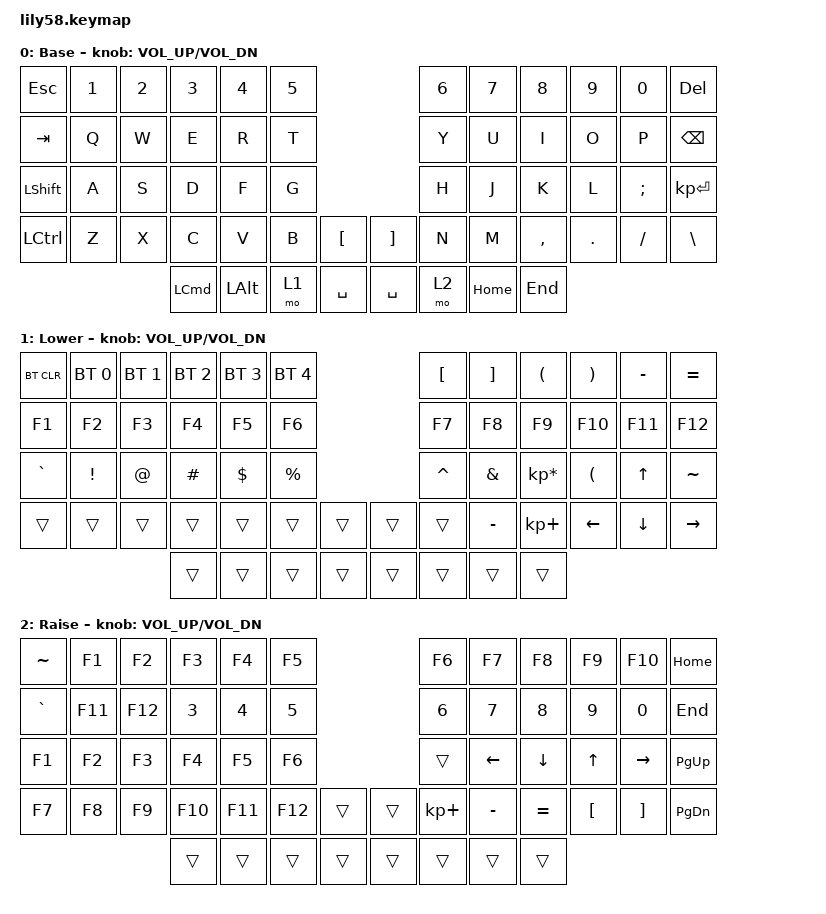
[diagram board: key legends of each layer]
/*
 * Copyright (c) 2020 The ZMK Contributors
 *
 * SPDX-License-Identifier: MIT
 */

#include <behaviors.dtsi>
#include <dt-bindings/zmk/bt.h>
#include <dt-bindings/zmk/keys.h>

/ {
    combos {
        compatible = "zmk,combos";

        lock_screen {
            bindings = <&kp K_SCREENSAVER>;
            key-positions = <53 54>;
            timeout-ms = <0>;
            layers = <0>;
        };
    };

    keymap {
        compatible = "zmk,keymap";

        default_layer {
            // ------------------------------------------------------------------------------------------------------------
            // |  ESC  |  1  |  2  |  3   |  4   |  5   |                   |  6   |  7    |  8    |  9   |   0   |   `   |
            // |  TAB  |  Q  |  W  |  E   |  R   |  T   |                   |  Y   |  U    |  I    |  O   |   P   |   -   |
            // |  CTRL |  A  |  S  |  D   |  F   |  G   |                   |  H   |  J    |  K    |  L   |   ;   |   '   |
            // | SHIFT |  Z  |  X  |  C   |  V   |  B   |   "["  |  |  "]"  |  N   |  M    |  ,    |  .   |   /   | SHIFT |
            //                     | ALT  | GUI  | LOWER|  SPACE |  | ENTER | RAISE| BSPC  | GUI   |

            display-name = "Base";
            bindings = <
&kp ESC         &kp N1  &kp N2  &kp N3            &kp N4        &kp N5                          &kp N6  &kp N7    &kp N8     &kp N9   &kp N0    &kp DEL
&kp TAB         &kp Q   &kp W   &kp E             &kp R         &kp T                           &kp Y   &kp U     &kp I      &kp O    &kp P     &kp BACKSPACE
&kp LEFT_SHIFT  &kp A   &kp S   &kp D             &kp F         &kp G                           &kp H   &kp J     &kp K      &kp L    &kp SEMI  &kp KP_ENTER
&kp LCTRL       &kp Z   &kp X   &kp C             &kp V         &kp B   &kp LBKT     &kp RBKT   &kp N   &kp M     &kp COMMA  &kp DOT  &kp FSLH  &kp BACKSLASH
                                &kp LEFT_COMMAND  &kp LEFT_ALT  &mo 1   &kp SPACE    &kp SPACE  &mo 2   &kp HOME  &kp END
            >;

            sensor-bindings = <&inc_dec_kp C_VOL_UP C_VOL_DN>;
        };

        lower_layer {
            // ------------------------------------------------------------------------------------------------------------
            // | BTCLR | BT1 | BT2 |  BT3 |  BT4 |  BT5 |                   |      |       |       |      |       |       |
            // |  F1   |  F2 |  F3 |  F4  |  F5  |  F6  |                   |  F7  |  F8   |  F9   |  F10 |  F11  |  F12  |
            // |   `   |  !  |  @  |  #   |  $   |  %   |                   |  ^   |  &    |  *    |  (   |   )   |   ~   |
            // |       |     |     |      |      |      |        |  |       |      |  _    |  +    |  {   |   }   |  "|"  |
            //                     |      |      |      |        |  |       |      |       |       |

            display-name = "Lower";
            bindings = <
&bt BT_CLR  &bt BT_SEL 0  &bt BT_SEL 1  &bt BT_SEL 2  &bt BT_SEL 3  &bt BT_SEL 4                    &kp LEFT_BRACKET  &kp RIGHT_BRACKET  &kp LEFT_PARENTHESIS  &kp RIGHT_PARENTHESIS  &kp MINUS       &kp EQUAL
&kp F1      &kp F2        &kp F3        &kp F4        &kp F5        &kp F6                          &kp F7            &kp F8             &kp F9                &kp F10                &kp F11         &kp F12
&kp GRAVE   &kp EXCL      &kp AT        &kp HASH      &kp DOLLAR    &kp PRCNT                       &kp CARET         &kp AMPS           &kp KP_MULTIPLY       &kp LPAR               &kp UP_ARROW    &kp TILDE
&trans      &trans        &trans        &trans        &trans        &trans        &trans    &trans  &trans            &kp MINUS          &kp KP_PLUS           &kp LEFT_ARROW         &kp DOWN_ARROW  &kp RIGHT_ARROW
                                        &trans        &trans        &trans        &trans    &trans  &trans            &trans             &trans
            >;

            sensor-bindings = <&inc_dec_kp C_VOL_UP C_VOL_DN>;
        };

        raise_layer {
            // ------------------------------------------------------------------------------------------------------------
            // |       |     |     |      |      |      |                   |      |       |       |      |       |       |
            // |   `   |  1  |  2  |  3   |  4   |  5   |                   |  6   |   7   |   8   |  9   |   0   |       |
            // |   F1  |  F2 |  F3 |  F4  |  F5  |  F6  |                   |      |   <-  |   v   |  ^   |  ->   |       |
            // |   F7  |  F8 |  F9 |  F10 |  F11 |  F12 |        |  |       |  +   |   -   |   =   |  [   |   ]   |   \   |
            //                     |      |      |      |        |  |       |      |       |       |

            display-name = "Raise";
            bindings = <
&kp TILDE  &kp F1   &kp F2   &kp F3   &kp F4   &kp F5                     &kp F6       &kp F7     &kp F8     &kp F9    &kp F10    &kp HOME
&kp GRAVE  &kp F11  &kp F12  &kp N3   &kp N4   &kp N5                     &kp N6       &kp N7     &kp N8     &kp N9    &kp N0     &kp END
&kp F1     &kp F2   &kp F3   &kp F4   &kp F5   &kp F6                     &trans       &kp LEFT   &kp DOWN   &kp UP    &kp RIGHT  &kp PAGE_UP
&kp F7     &kp F8   &kp F9   &kp F10  &kp F11  &kp F12  &trans    &trans  &kp KP_PLUS  &kp MINUS  &kp EQUAL  &kp LBKT  &kp RBKT   &kp PAGE_DOWN
                             &trans   &trans   &trans   &trans    &trans  &trans       &trans     &trans
            >;

            sensor-bindings = <&inc_dec_kp C_VOL_UP C_VOL_DN>;
        };
    };
};
